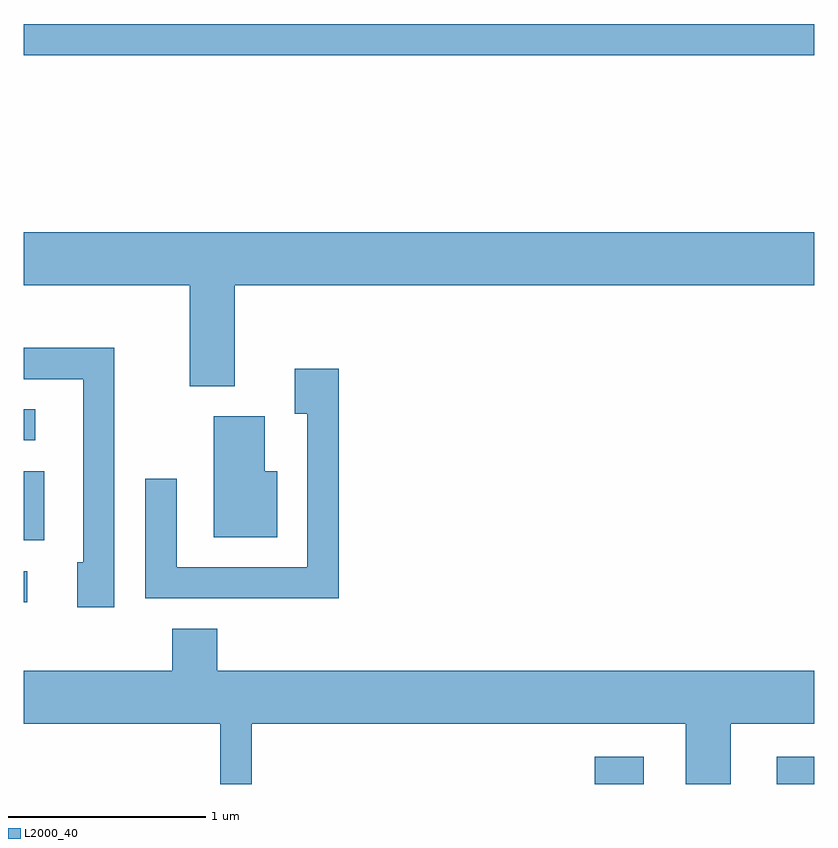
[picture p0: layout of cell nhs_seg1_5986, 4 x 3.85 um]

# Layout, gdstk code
import gdstk
lib = gdstk.Library(unit=1e-6, precision=1e-09)
def R(c, l, rs):  # rectangles x0, y0, x1, y1
    for r in rs: c.add(gdstk.rectangle(r[:2], r[2:], *l))
def P(c, l, *ps):  # polygons
    for p in ps: c.add(gdstk.Polygon(p, *l))
L2000_40 = (2000, 40)

nhs_seg1_5986 = lib.new_cell('nhs_seg1_5986')
R(nhs_seg1_5986, L2000_40, [(368.501,903.712,368.749,903.849), (369.421,903.712,369.611,903.849), (365.611,904.631,365.628,904.789), (365.611,904.946,365.714,905.294), (365.611,905.451,365.668,905.609), (365.611,907.401,369.611,907.559)])
P(nhs_seg1_5986, L2000_40, [(366.679,906.236),(369.611,906.236),(369.611,906.504),(365.611,906.504),(365.611,906.236),(366.451,906.236),(366.451,905.726),(366.679,905.726)],
  [(366.069,905.919),(365.611,905.919),(365.611,905.761),(365.911,905.761),(365.911,904.834),(365.881,904.834),(365.881,904.606),(366.069,904.606)],
  [(367.204,905.814),(366.981,905.814),(366.981,905.586),(367.046,905.586),(367.046,904.809),(366.384,904.809),(366.384,905.258),(366.226,905.258),(366.226,904.651),(367.204,904.651)],
  [(366.894,905.294),(366.829,905.294),(366.829,905.574),(366.571,905.574),(366.571,904.961),(366.894,904.961)],
  [(366.764,904.016),(368.961,904.016),(368.961,903.712),(369.189,903.712),(369.189,904.016),(369.611,904.016),(369.611,904.284),(366.589,904.284),(366.589,904.499),(366.361,904.499),(366.361,904.284),(365.611,904.284),(365.611,904.016),(366.606,904.016),(366.606,903.712),(366.764,903.712)])

lib.write_gds('nhs_seg1_5986.gds')
